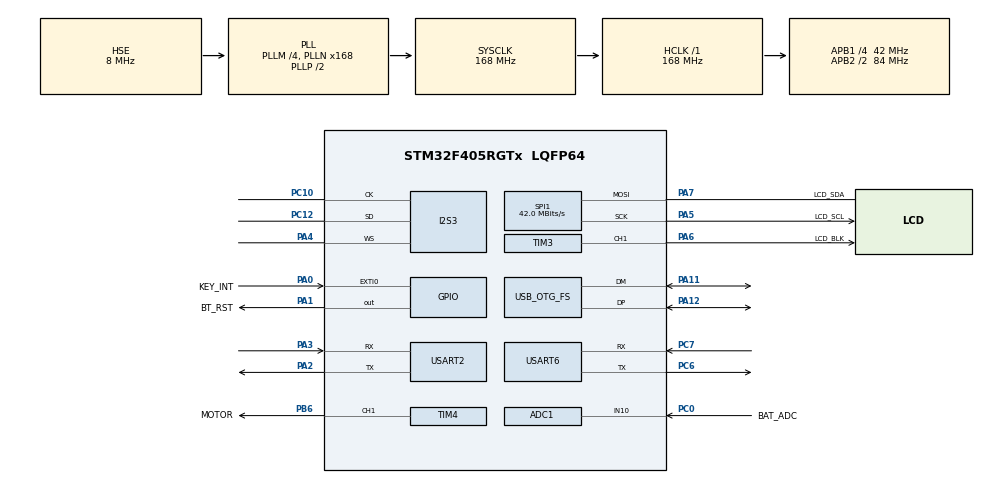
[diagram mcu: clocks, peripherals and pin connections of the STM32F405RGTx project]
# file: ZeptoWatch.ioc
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ADC1.Channel-0\#ChannelRegularConversion=ADC_CHANNEL_10
ADC1.ClockPrescaler=ADC_CLOCK_SYNC_PCLK_DIV6
ADC1.DMAContinuousRequests=ENABLE
ADC1.ExternalTrigConv=ADC_EXTERNALTRIGCONV_T5_CC1
ADC1.ExternalTrigConvEdge=ADC_EXTERNALTRIGCONVEDGE_FALLING
ADC1.NbrOfConversionFlag=1
ADC1.Rank-0\#ChannelRegularConversion=1
ADC1.SamplingTime-0\#ChannelRegularConversion=ADC_SAMPLETIME_3CYCLES
ADC1.master=1
Dma.ADC1.0.Direction=DMA_PERIPH_TO_MEMORY
Dma.ADC1.0.FIFOMode=DMA_FIFOMODE_DISABLE
Dma.ADC1.0.Instance=DMA2_Stream0
Dma.ADC1.0.MemDataAlignment=DMA_MDATAALIGN_HALFWORD
Dma.ADC1.0.MemInc=DMA_MINC_ENABLE
Dma.ADC1.0.Mode=DMA_CIRCULAR
Dma.ADC1.0.PeriphDataAlignment=DMA_PDATAALIGN_HALFWORD
Dma.ADC1.0.PeriphInc=DMA_PINC_DISABLE
Dma.ADC1.0.Priority=DMA_PRIORITY_LOW
Dma.Request0=ADC1
Dma.Request1=SPI3_RX
Dma.Request2=SPI1_TX
Dma.Request3=USART2_TX
Dma.Request4=USART2_RX
Dma.Request5=USART6_TX
Dma.Request6=USART6_RX
Dma.SPI1_TX.2.Direction=DMA_MEMORY_TO_PERIPH
Dma.SPI1_TX.2.FIFOMode=DMA_FIFOMODE_DISABLE
Dma.SPI1_TX.2.Instance=DMA2_Stream3
Dma.SPI1_TX.2.MemDataAlignment=DMA_MDATAALIGN_BYTE
Dma.SPI1_TX.2.MemInc=DMA_MINC_ENABLE
Dma.SPI1_TX.2.Mode=DMA_NORMAL
Dma.SPI1_TX.2.PeriphDataAlignment=DMA_PDATAALIGN_BYTE
Dma.SPI1_TX.2.PeriphInc=DMA_PINC_DISABLE
Dma.SPI1_TX.2.Priority=DMA_PRIORITY_LOW
Dma.SPI3_RX.1.Direction=DMA_PERIPH_TO_MEMORY
Dma.SPI3_RX.1.FIFOMode=DMA_FIFOMODE_DISABLE
Dma.SPI3_RX.1.Instance=DMA1_Stream0
Dma.SPI3_RX.1.MemDataAlignment=DMA_MDATAALIGN_WORD
Dma.SPI3_RX.1.MemInc=DMA_MINC_ENABLE
Dma.SPI3_RX.1.Mode=DMA_CIRCULAR
Dma.SPI3_RX.1.PeriphDataAlignment=DMA_PDATAALIGN_WORD
Dma.SPI3_RX.1.PeriphInc=DMA_PINC_DISABLE
Dma.SPI3_RX.1.Priority=DMA_PRIORITY_LOW
Dma.USART2_RX.4.Direction=DMA_PERIPH_TO_MEMORY
Dma.USART2_RX.4.FIFOMode=DMA_FIFOMODE_DISABLE
Dma.USART2_RX.4.Instance=DMA1_Stream5
Dma.USART2_RX.4.MemDataAlignment=DMA_MDATAALIGN_BYTE
Dma.USART2_RX.4.MemInc=DMA_MINC_ENABLE
Dma.USART2_RX.4.Mode=DMA_NORMAL
Dma.USART2_RX.4.PeriphDataAlignment=DMA_PDATAALIGN_BYTE
Dma.USART2_RX.4.PeriphInc=DMA_PINC_DISABLE
Dma.USART2_RX.4.Priority=DMA_PRIORITY_LOW
Dma.USART2_TX.3.Direction=DMA_MEMORY_TO_PERIPH
Dma.USART2_TX.3.FIFOMode=DMA_FIFOMODE_DISABLE
Dma.USART2_TX.3.Instance=DMA1_Stream6
Dma.USART2_TX.3.MemDataAlignment=DMA_MDATAALIGN_BYTE
Dma.USART2_TX.3.MemInc=DMA_MINC_ENABLE
Dma.USART2_TX.3.Mode=DMA_NORMAL
Dma.USART2_TX.3.PeriphDataAlignment=DMA_PDATAALIGN_BYTE
Dma.USART2_TX.3.PeriphInc=DMA_PINC_DISABLE
Dma.USART2_TX.3.Priority=DMA_PRIORITY_LOW
Dma.USART6_RX.6.Direction=DMA_PERIPH_TO_MEMORY
Dma.USART6_RX.6.FIFOMode=DMA_FIFOMODE_DISABLE
Dma.USART6_RX.6.Instance=DMA2_Stream1
Dma.USART6_RX.6.MemDataAlignment=DMA_MDATAALIGN_BYTE
Dma.USART6_RX.6.MemInc=DMA_MINC_ENABLE
Dma.USART6_RX.6.Mode=DMA_NORMAL
Dma.USART6_RX.6.PeriphDataAlignment=DMA_PDATAALIGN_BYTE
Dma.USART6_RX.6.PeriphInc=DMA_PINC_DISABLE
Dma.USART6_RX.6.Priority=DMA_PRIORITY_LOW
Dma.USART6_TX.5.Direction=DMA_MEMORY_TO_PERIPH
Dma.USART6_TX.5.FIFOMode=DMA_FIFOMODE_DISABLE
Dma.USART6_TX.5.Instance=DMA2_Stream6
Dma.USART6_TX.5.MemDataAlignment=DMA_MDATAALIGN_BYTE
Dma.USART6_TX.5.MemInc=DMA_MINC_ENABLE
Dma.USART6_TX.5.Mode=DMA_NORMAL
Dma.USART6_TX.5.PeriphDataAlignment=DMA_PDATAALIGN_BYTE
Dma.USART6_TX.5.PeriphInc=DMA_PINC_DISABLE
Dma.USART6_TX.5.Priority=DMA_PRIORITY_LOW
FREERTOS.HEAP_NUMBER=4
FREERTOS.MEMORY_ALLOCATION=0
FREERTOS.Mutexes01=lvglMutex,Dynamic,NULL
FREERTOS.Tasks01=defaultTask,3,512,StartDefaultTask,Default,NULL,Dynamic,NULL,NULL;systemUI,2,3200,StartSystemUI,As weak,NULL,Dynamic,NULL,NULL;systemDetecting,0,1000,StartSystemDetecting,As weak,NULL,Dynamic,NULL,NULL;applicationExec,0,4800,StartApplicationExecuting,As weak,NULL,Dynamic,NULL,NULL;systemScanning,-1,1500,startSystemScanning,As weak,NULL,Dynamic,NULL,NULL
FREERTOS.configENABLE_FPU=1
FREERTOS.configMINIMAL_STACK_SIZE=512
FREERTOS.configTOTAL_HEAP_SIZE=45000
I2S3.DataFormat=I2S_DATAFORMAT_24B
I2S3.ErrorAudioFreq=-0.36 %
I2S3.FullDuplexMode=I2S_FULLDUPLEXMODE_DISABLE
I2S3.Instance=SPI$Index
I2S3.Mode=I2S_MODE_MASTER_RX
I2S3.RealAudioFreq=7.971 KHz
I2S3.VirtualMode=I2S_MODE_MASTER
Mcu.Family=STM32F4
Mcu.Name=STM32F405RGTx
Mcu.Package=LQFP64
NVIC.DMA1_Stream0_IRQn=true\:5\:0\:false\:false\:true\:true\:false\:true\:true
NVIC.DMA1_Stream5_IRQn=true\:5\:0\:false\:false\:true\:true\:false\:true\:true
NVIC.DMA1_Stream6_IRQn=true\:5\:0\:false\:false\:true\:true\:false\:true\:true
NVIC.DMA2_Stream0_IRQn=true\:5\:0\:false\:false\:true\:true\:false\:true\:true
NVIC.DMA2_Stream1_IRQn=true\:5\:0\:false\:false\:true\:true\:false\:true\:true
NVIC.DMA2_Stream3_IRQn=true\:5\:0\:false\:false\:true\:true\:false\:true\:true
NVIC.DMA2_Stream6_IRQn=true\:5\:0\:false\:false\:true\:true\:false\:true\:true
NVIC.EXTI0_IRQn=true\:5\:0\:false\:false\:true\:true\:true\:true\:true
NVIC.OTG_FS_IRQn=true\:5\:0\:false\:false\:true\:true\:false\:true\:true
NVIC.PriorityGroup=NVIC_PRIORITYGROUP_4
NVIC.RTC_Alarm_IRQn=true\:5\:0\:true\:false\:true\:true\:true\:true\:true
NVIC.TIM1_UP_TIM10_IRQn=true\:5\:0\:false\:false\:true\:false\:false\:true\:true
NVIC.TIM2_IRQn=true\:5\:0\:false\:false\:true\:true\:true\:true\:true
NVIC.TIM7_IRQn=true\:5\:0\:false\:false\:true\:true\:true\:true\:true
NVIC.TimeBase=TIM1_UP_TIM10_IRQn
NVIC.TimeBaseIP=TIM1
PA0-WKUP.GPIO_Label=KEY_INT
PA0-WKUP.GPIO_ModeDefaultEXTI=GPIO_MODE_IT_RISING_FALLING
PA0-WKUP.GPIO_PuPd=GPIO_PULLDOWN
PA0-WKUP.Signal=GPXTI0
PA1.GPIO_Label=BT_RST
PA1.GPIO_ModeDefaultOutputPP=GPIO_MODE_OUTPUT_OD
PA1.GPIO_PuPd=GPIO_NOPULL
PA1.GPIO_Speed=GPIO_SPEED_FREQ_VERY_HIGH
PA1.PinState=GPIO_PIN_SET
PA1.Signal=GPIO_Output
PA11.Mode=Device_Only
PA11.Signal=USB_OTG_FS_DM
PA12.Mode=Device_Only
PA12.Signal=USB_OTG_FS_DP
PA13.Mode=Serial_Wire
PA13.Signal=SYS_JTMS-SWDIO
PA14.Mode=Serial_Wire
PA14.Signal=SYS_JTCK-SWCLK
PA2.Mode=Asynchronous
PA2.Signal=USART2_TX
PA3.Mode=Asynchronous
PA3.Signal=USART2_RX
PA4.Mode=Half_Duplex_Master
PA4.Signal=I2S3_WS
PA5.GPIO_Label=LCD_SCL
PA5.GPIO_PuPd=GPIO_PULLUP
PA5.Mode=Simplex_Bidirectional_Master
PA5.Signal=SPI1_SCK
PA6.GPIO_Label=LCD_BLK
PA6.GPIO_Speed=GPIO_SPEED_FREQ_VERY_HIGH
PA6.Signal=S_TIM3_CH1
PA7.GPIO_Label=LCD_SDA
PA7.GPIO_PuPd=GPIO_PULLUP
PA7.Mode=Simplex_Bidirectional_Master
PA7.Signal=SPI1_MOSI
PB6.GPIO_Label=MOTOR
PB6.GPIO_Speed=GPIO_SPEED_FREQ_VERY_HIGH
PB6.Signal=S_TIM4_CH1
PC0.GPIO_Label=BAT_ADC
PC0.Signal=ADCx_IN10
PC10.Mode=Half_Duplex_Master
PC10.Signal=I2S3_CK
PC12.Mode=Half_Duplex_Master
PC12.Signal=I2S3_SD
PC14-OSC32_IN.Mode=LSE-External-Oscillator
PC14-OSC32_IN.Signal=RCC_OSC32_IN
PC15-OSC32_OUT.Mode=LSE-External-Oscillator
PC15-OSC32_OUT.Signal=RCC_OSC32_OUT
PC6.Mode=Asynchronous
PC6.Signal=USART6_TX
PC7.Mode=Asynchronous
PC7.Signal=USART6_RX
PH0-OSC_IN.Mode=HSE-External-Oscillator
PH0-OSC_IN.Signal=RCC_OSC_IN
PH1-OSC_OUT.Mode=HSE-External-Oscillator
PH1-OSC_OUT.Signal=RCC_OSC_OUT
ProjectManager.HeapSize=0x4000
ProjectManager.StackSize=0x2000
ProjectManager.TargetToolchain=STM32CubeIDE
RCC.48MHZClocksFreq_Value=48000000
RCC.AHBFreq_Value=168000000
RCC.APB1CLKDivider=RCC_HCLK_DIV4
RCC.APB1Freq_Value=42000000
RCC.APB1TimFreq_Value=84000000
RCC.APB2CLKDivider=RCC_HCLK_DIV2
RCC.APB2Freq_Value=84000000
RCC.APB2TimFreq_Value=168000000
RCC.CortexFreq_Value=168000000
RCC.HCLKFreq_Value=168000000
RCC.HSE_VALUE=8000000
RCC.HSI_VALUE=16000000
RCC.PLLI2SN=50
RCC.PLLM=4
RCC.PLLN=168
RCC.PLLQ=7
RCC.RCC_RTC_Clock_Source=RCC_RTCCLKSOURCE_LSE
RCC.RCC_RTC_Clock_SourceVirtual=RCC_RTCCLKSOURCE_LSE
RCC.SYSCLKFreq_VALUE=168000000
RCC.SYSCLKSource=RCC_SYSCLKSOURCE_PLLCLK
RCC.VCOOutputFreq_Value=336000000
RTC.Alarm=RTC_ALARM_A
RTC.AlarmDateWeekDaySel=RTC_ALARMDATEWEEKDAYSEL_DATE
RTC.AlarmMaskDateWeekDay=RTC_ALARMMASK_DATEWEEKDAY
RTC.AlarmMaskHours=RTC_ALARMMASK_HOURS
RTC.AlarmMaskMinutes=RTC_ALARMMASK_MINUTES
RTC.Format=RTC_FORMAT_BIN
RTC.Seconds_A=1
RTC.StoreOperation=RTC_STOREOPERATION_RESET
SH.ADCx_IN10.0=ADC1_IN10,IN10
SH.S_TIM3_CH1.0=TIM3_CH1,PWM Generation1 CH1
SH.S_TIM4_CH1.0=TIM4_CH1,PWM Generation1 CH1
SPI1.CLKPhase=SPI_PHASE_2EDGE
SPI1.CLKPolarity=SPI_POLARITY_HIGH
SPI1.CalculateBaudRate=42.0 MBits/s
SPI1.Direction=SPI_DIRECTION_1LINE
SPI1.Mode=SPI_MODE_MASTER
SPI1.VirtualType=VM_MASTER
STMicroelectronics.X-CUBE-ALGOBUILD.1.3.0.LibraryCcDSPOoLibraryJjDSPOoLibrary=true
TIM2.Period=100 - 1
TIM2.Prescaler=840 - 1
TIM3.Channel-PWM\ Generation1\ CH1=TIM_CHANNEL_1
TIM3.Period=100 - 1
TIM3.Prescaler=84 - 1
TIM3.Pulse-PWM\ Generation1\ CH1=0
TIM4.Channel-PWM\ Generation1\ CH1=TIM_CHANNEL_1
TIM4.Period=100 - 1
TIM4.Prescaler=84 - 1
TIM5.Channel-PWM\ Generation1\ No\ Output=TIM_CHANNEL_1
TIM5.Period=100 - 1
TIM5.Prescaler=10000 - 1
TIM5.Pulse-PWM\ Generation1\ No\ Output=50
TIM7.Period=22000 - 1
TIM7.Prescaler=8400 - 1
USART2.VirtualMode=VM_ASYNC
USART6.VirtualMode=VM_ASYNC
USB_DEVICE.CLASS_NAME_FS=MSC
USB_DEVICE.MANUFACTURER_STRING-MSC_FS=Gralerfics
USB_DEVICE.PID_MSC_FS=0xF405
USB_DEVICE.PRODUCT_STRING_MSC_FS=ZeptoWatch
USB_DEVICE.VID-MSC_FS=0x1001
USB_DEVICE.VirtualMode-MSC_FS=Msc
USB_DEVICE.VirtualModeFS=Msc_FS
USB_OTG_FS.VirtualMode=Device_Only
VP_FATFS_VS_Generic.Mode=User_defined
VP_FREERTOS_VS_CMSIS_V1.Mode=CMSIS_V1
VP_RTC_VS_RTC_Activate.Mode=RTC_Enabled
VP_RTC_VS_RTC_Alarm_A_Intern.Mode=Alarm A
VP_RTC_VS_RTC_Calendar.Mode=RTC_Calendar
VP_STMicroelectronics.X-CUBE-ALGOBUILD_VS_DSPOoLibraryJjLibrary_1.3.0_1.3.0.Mode=DSPOoLibraryJjLibrary
VP_SYS_VS_tim1.Mode=TIM1
VP_TIM2_VS_ClockSourceINT.Mode=Internal
VP_TIM4_VS_ClockSourceINT.Mode=Internal
VP_TIM5_VS_no_output1.Mode=PWM Generation1 No Output
VP_TIM7_VS_ClockSourceINT.Mode=Enable_Timer
VP_USB_DEVICE_VS_USB_DEVICE_MSC_FS.Mode=MSC_FS
board=custom

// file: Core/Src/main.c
/* USER CODE BEGIN Header */
/**
  ******************************************************************************
  * @file           : main.c
  * @brief          : Main program body
  ******************************************************************************
  * @attention
  *
  * Copyright (c) 2022 STMicroelectronics.
  * All rights reserved.
  *
  * This software is licensed under terms that can be found in the LICENSE file
  * in the root directory of this software component.
  * If no LICENSE file comes with this software, it is provided AS-IS.
  *
  ******************************************************************************
  */
/* USER CODE END Header */
#include "main.h"
#include "cmsis_os.h"
#include "adc.h"
#include "dma.h"
#include "fatfs.h"
#include "i2s.h"
#include "rtc.h"
#include "spi.h"
#include "tim.h"
#include "usart.h"
#include "usb_device.h"
#include "gpio.h"

void SystemClock_Config(void);
void MX_FREERTOS_Init(void);

int main(void)
{

  /* MCU Configuration--------------------------------------------------------*/

  /* Reset of all peripherals, Initializes the Flash interface and the Systick. */
  HAL_Init();

  /* Configure the system clock */
  SystemClock_Config();

  /* Initialize all configured peripherals */
  MX_GPIO_Init();
  MX_DMA_Init();
  MX_ADC1_Init();
  MX_I2S3_Init();
  MX_RTC_Init();
  MX_FATFS_Init();
  MX_SPI1_Init();
  MX_TIM2_Init();
  MX_TIM3_Init();
  MX_TIM4_Init();
  MX_TIM5_Init();
  MX_USART2_UART_Init();
  MX_TIM7_Init();
  MX_USART6_UART_Init();

  /* Call init function for freertos objects (in freertos.c) */
  MX_FREERTOS_Init();

  /* Start scheduler */
  osKernelStart();

  /* We should never get here as control is now taken by the scheduler */
  /* Infinite loop */
	while (1)
	{

	}
}

void SystemClock_Config(void)
{
  RCC_OscInitTypeDef RCC_OscInitStruct = {0};
  RCC_ClkInitTypeDef RCC_ClkInitStruct = {0};

  /** Configure the main internal regulator output voltage
  */
  __HAL_RCC_PWR_CLK_ENABLE();
  __HAL_PWR_VOLTAGESCALING_CONFIG(PWR_REGULATOR_VOLTAGE_SCALE1);

  /** Initializes the RCC Oscillators according to the specified parameters
  * in the RCC_OscInitTypeDef structure.
  */
  RCC_OscInitStruct.OscillatorType = RCC_OSCILLATORTYPE_HSE|RCC_OSCILLATORTYPE_LSE;
  RCC_OscInitStruct.HSEState = RCC_HSE_ON;
  RCC_OscInitStruct.LSEState = RCC_LSE_ON;
  RCC_OscInitStruct.PLL.PLLState = RCC_PLL_ON;
  RCC_OscInitStruct.PLL.PLLSource = RCC_PLLSOURCE_HSE;
  RCC_OscInitStruct.PLL.PLLM = 4;
  RCC_OscInitStruct.PLL.PLLN = 168;
  RCC_OscInitStruct.PLL.PLLP = RCC_PLLP_DIV2;
  RCC_OscInitStruct.PLL.PLLQ = 7;
  if (HAL_RCC_OscConfig(&RCC_OscInitStruct) != HAL_OK)
  {
    Error_Handler();
  }

  /** Initializes the CPU, AHB and APB buses clocks
  */
  RCC_ClkInitStruct.ClockType = RCC_CLOCKTYPE_HCLK|RCC_CLOCKTYPE_SYSCLK
                              |RCC_CLOCKTYPE_PCLK1|RCC_CLOCKTYPE_PCLK2;
  RCC_ClkInitStruct.SYSCLKSource = RCC_SYSCLKSOURCE_PLLCLK;
  RCC_ClkInitStruct.AHBCLKDivider = RCC_SYSCLK_DIV1;
  RCC_ClkInitStruct.APB1CLKDivider = RCC_HCLK_DIV4;
  RCC_ClkInitStruct.APB2CLKDivider = RCC_HCLK_DIV2;

  if (HAL_RCC_ClockConfig(&RCC_ClkInitStruct, FLASH_LATENCY_5) != HAL_OK)
  {
    Error_Handler();
  }
}

/* USER CODE BEGIN 4 */
#include "lvgl.h"
/* USER CODE END 4 */

void HAL_TIM_PeriodElapsedCallback(TIM_HandleTypeDef *htim)
{
  if (htim->Instance == TIM1) {
    HAL_IncTick();
  }
  /* USER CODE BEGIN Callback 1 */
	if (htim == &htim2) {
		lv_tick_inc(1);
	}
  /* USER CODE END Callback 1 */
}

void Error_Handler(void)
{
	__disable_irq();
	while (1)
	{
	}
}

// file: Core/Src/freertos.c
/* USER CODE BEGIN Header */
/**
  ******************************************************************************
  * File Name          : freertos.c
  * Description        : Code for freertos applications
  ******************************************************************************
  * @attention
  *
  * Copyright (c) 2022 STMicroelectronics.
  * All rights reserved.
  *
  * This software is licensed under terms that can be found in the LICENSE file
  * in the root directory of this software component.
  * If no LICENSE file comes with this software, it is provided AS-IS.
  *
  ******************************************************************************
  */
/* USER CODE END Header */

#include "FreeRTOS.h"
#include "task.h"
#include "main.h"
#include "cmsis_os.h"

/* USER CODE BEGIN Includes */
#include "common.h"

#include "lvgl.h"
#include "lv_port_disp.h"
#include "lv_port_indev.h"
#include "ui.h"

#include "retarget.h"
#include "pikaScript.h"
#include "brightness.h"
#include "fshelper.h"
#include "mpu6050.h"
#include "msm261s.h"
#include "power.h"
#include "vibrator.h"
#include "battery.h"
/* USER CODE END Includes */

/* USER CODE BEGIN PTD */
#include "ui_helpers_user.h"
/* USER CODE END PTD */

//osThreadId defaultTaskHandle;
osThreadId systemUIHandle;
osThreadId systemDetectingHandle;
osThreadId applicationExecHandle;
osThreadId systemScanningHandle;
//osMutexId lvglMutexHandle;
SemaphoreHandle_t lvglMutexHandle;

//void StartDefaultTask(void const * argument);
void StartSystemUI(void const * argument);
void StartSystemDetecting(void const * argument);
void StartApplicationExecuting(void const * argument);
void startSystemScanning(void const * argument);

extern void MX_USB_DEVICE_Init(void);
void MX_FREERTOS_Init(void); /* (MISRA C 2004 rule 8.1) */

void MX_FREERTOS_Init(void) {
  /* USER CODE BEGIN Init */

	// USB Initialization
	MX_USB_DEVICE_Init();
	// Retarget printf
	RetargetInit(&huart6);
	// Power Key Initialization
	Power_SetState(0);
	Power_SetTIMHandle(&htim7);
	// Screen Brightness Initialization - Dark
	Brightness_Start(&htim3, TIM_CHANNEL_1);
	Brightness_SetValueDirect(0);
	// Lvgl Initialization
	lv_init();
	lv_port_disp_init();
	lv_port_indev_init();
	ui_init();
	UI_Applications_InitList();
	HAL_TIM_Base_Start_IT(&htim2);
	// EEPROM Initialization
	ROM_Init();
	// File System Initialization
	FS_Mount();
	// Halt Applications
	Applications_HaltApplication();
	// IMU Initialization
	MPU_Initialize();
	// Microphone Initialization
	Microphone_StartSampling();
	// Vibrator Initialization
	Vibrator_Initialize(&htim4, TIM_CHANNEL_1);
	// Battery Initialization
	Battery_Init();
	Battery_StartSampling();

	// Scan 任务 Heap 大小大一些好像很重要
	// P.S. 改了 .ld 文件 195 行 ._user_heap_stack 的指向，由 RAM 改为 CCMRAM，在此记录

  /* USER CODE END Init */
  /* Create the mutex(es) */
  /* definition and creation of lvglMutex */
//  osMutexDef(lvglMutex);
//  lvglMutexHandle = osMutexCreate(osMutex(lvglMutex));
	lvglMutexHandle = xSemaphoreCreateMutex();

  /* Create the thread(s) */
  /* definition and creation of defaultTask */
//  osThreadDef(defaultTask, StartDefaultTask, osPriorityRealtime, 0, 512);
//  defaultTaskHandle = osThreadCreate(osThread(defaultTask), NULL);

  /* definition and creation of systemUI */
  osThreadDef(systemUI, StartSystemUI, osPriorityHigh, 0, 3200);
  systemUIHandle = osThreadCreate(osThread(systemUI), NULL);

  /* definition and creation of systemDetecting */
  osThreadDef(systemDetecting, StartSystemDetecting, osPriorityNormal, 0, 1000);
  systemDetectingHandle = osThreadCreate(osThread(systemDetecting), NULL);

  /* definition and creation of applicationExec */
  osThreadDef(applicationExec, StartApplicationExecuting, osPriorityNormal, 0, 4800);
  applicationExecHandle = osThreadCreate(osThread(applicationExec), NULL);

  /* definition and creation of systemScanning */
  osThreadDef(systemScanning, startSystemScanning, osPriorityBelowNormal, 0, 1500);
  systemScanningHandle = osThreadCreate(osThread(systemScanning), NULL);

}

//void StartDefaultTask(void const * argument)
//{
//  /* init code for USB_DEVICE */
//  MX_USB_DEVICE_Init();
//  /* USER CODE BEGIN StartDefaultTask */
//	/* Infinite loop */
//	for(;;)
//	{
//		osDelay(1);
//	}
//  /* USER CODE END StartDefaultTask */
//}

__weak void StartSystemUI(void const * argument)
{
	for(;;)
	{
		osDelay(1);
	}
}

__weak void StartSystemDetecting(void const * argument)
{
	for(;;)
	{
		osDelay(1);
	}
}

__weak void StartApplicationExecuting(void const * argument)
{
	for(;;)
	{
		osDelay(1);
	}
}

__weak void startSystemScanning(void const * argument)
{
	for(;;)
	{
		osDelay(1);
	}
}
